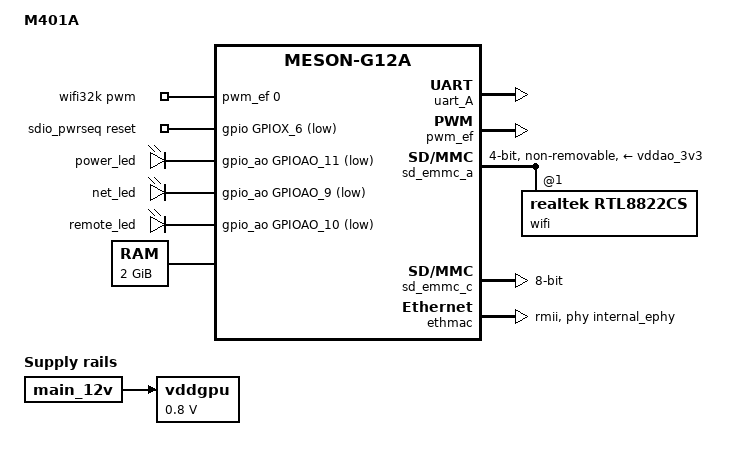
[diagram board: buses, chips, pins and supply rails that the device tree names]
// SPDX-License-Identifier: (GPL-2.0+ OR MIT)
/*
 * Copyright (c) 2018 Amlogic, Inc. All rights reserved.
 * Create by janko888 2022/11/27
 */
 
/dts-v1/;

#include "meson-g12a-u200.dts"

/ {
	compatible = "m401a", "amlogic,g12a";
	model = "M401A";
	
	aliases {
		serial1 = &uart_A;
	};
	
	vddgpu: regulator-vddgpu {
		compatible = "regulator-fixed";
		regulator-name = "mali";
		regulator-min-microvolt = <800000>;
		regulator-max-microvolt = <800000>;
		vin-supply = <&main_12v>;
		regulator-boot-on;
		regulator-always-on;
	};

	wifi32k: wifi32k {
		compatible = "pwm-clock";
		#clock-cells = <0>;
		clock-frequency = <32768>;
		pwms = <&pwm_ef 0 30518 0>; /* PWM_E at 32.768KHz */
	};

	sdio_pwrseq: sdio-pwrseq {
		compatible = "mmc-pwrseq-simple";
		reset-gpios = <&gpio GPIOX_6 GPIO_ACTIVE_LOW>;
		clocks = <&wifi32k>;
		clock-names = "ext_clock";
	};
	
	leds {
		compatible = "gpio-leds";

		power_led {
			led_name = "power_led";
			gpios = <&gpio_ao GPIOAO_11 GPIO_ACTIVE_LOW>;
			default-state = "on";
		};

		net_led {
			led_name = "net_led";
			gpios = <&gpio_ao GPIOAO_9 GPIO_ACTIVE_LOW>;
			default-state = "off";
			linux,default-trigger = "0.0:00:link";
		};

		remote_led {
			led_name = "remote_led";
			gpios = <&gpio_ao GPIOAO_10 GPIO_ACTIVE_LOW>;
			default-state = "off";
			linux,default-trigger = "rc-feedback";
		};
	};

	memory@0 {
		device_type = "memory";
		reg = <0x0 0x0 0x0 0x80000000>;
	};
};

&uart_A {
	status = "okay";
	pinctrl-0 = <&uart_a_pins>, <&uart_a_cts_rts_pins>;
	uart-has-rtscts;
	pinctrl-names = "default";
};

&mali {
	mali-supply=<&vddgpu>;
};

/* WIFIPWN */
&pwm_ef{
	status = "okay";
	pinctrl-0 = <&pwm_e_pins>;
	pinctrl-names = "default";
	#clock-cells = <0>;
};

/* SDIO */
&sd_emmc_a {
	status = "okay";
	pinctrl-0 = <&sdio_pins>;
	pinctrl-1 = <&sdio_clk_gate_pins>;
	pinctrl-names = "default", "clk-gate";
	#address-cells = <1>;
	#size-cells = <0>;

	bus-width = <4>;
	cap-sd-highspeed;
	sd-uhs-sdr50;
	max-frequency = <50000000>;

	non-removable;
	disable-wp;

	/* WiFi firmware requires power to be kept while in suspend */
	keep-power-in-suspend;

	mmc-pwrseq = <&sdio_pwrseq>;

	vmmc-supply = <&vddao_3v3>;
	vqmmc-supply = <&vddao_1v8>;

	wifi: wifi@1 {
		reg = <1>;
		compatible = "realtek,rtl8822cs";
	};
};

/* SD card */
/* No SD card in M401A */
&sd_emmc_b {
	status = "disabled";
	bus-width = <4>;
	cap-sd-highspeed;
	max-frequency = <50000000>;
};

/* eMMC */
&sd_emmc_c {
	status = "okay";
	bus-width = <8>;
	cap-mmc-highspeed;
	mmc-ddr-1_8v;
	mmc-hs200-1_8v;
	max-frequency = <100000000>;
};

/* CPU Overclock */
&cpu_opp_table {
	opp-100000000 {
		opp-hz = /bits/ 64 <100000000>;
		opp-microvolt = <731000>;
	};

	opp-250000000 {
		opp-hz = /bits/ 64 <250000000>;
		opp-microvolt = <731000>;
	};
	
	opp-500000000 {
		opp-hz = /bits/ 64 <500000000>;
		opp-microvolt = <731000>;
	};

	opp-667000000 {
		opp-hz = /bits/ 64 <667000000>;
		opp-microvolt = <731000>;
	};
	
	opp-1000000000 {
		opp-hz = /bits/ 64 <1000000000>;
		opp-microvolt = <731000>;
	};

	opp-1200000000 {
		opp-hz = /bits/ 64 <1200000000>;
		//opp-microvolt = <731000>;
		opp-microvolt = <761000>;
	};

	opp-1398000000 {
		opp-hz = /bits/ 64 <1398000000>;
		//opp-microvolt = <761000>;
		opp-microvolt = <791000>;
	};

	opp-1512000000 {
		opp-hz = /bits/ 64 <1512000000>;
		//opp-microvolt = <791000>;
		opp-microvolt = <831000>;
	};

	opp-1608000000 {
		opp-hz = /bits/ 64 <1608000000>;
		//opp-microvolt = <831000>;
		opp-microvolt = <871000>;
	};

	opp-1704000000 {
		opp-hz = /bits/ 64 <1704000000>;
		//opp-microvolt = <861000>;
		opp-microvolt = <921000>;
	};
	
	/* some soc has crash under 1800 */
	opp-1800000000 {
		opp-hz = /bits/ 64 <1800000000>;
		opp-microvolt = <981000>;
		status = "disabled";
	};
		
};

&internal_ephy  {
	max-speed = <100>;
};

&ethmac {
	/delete-property/ resets;
	/delete-property/ reset-names;
	phy-handle = <&internal_ephy>;
	phy-mode = "rmii";
	status = "okay";
};
